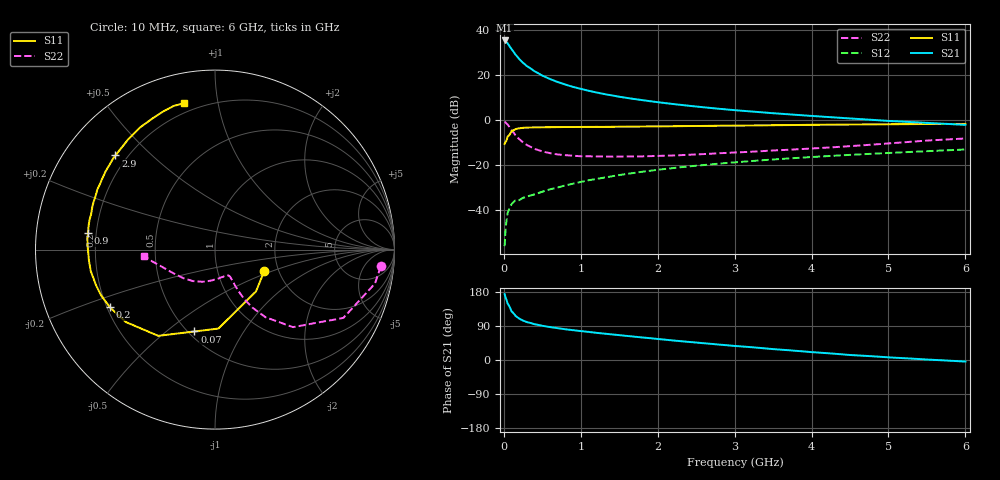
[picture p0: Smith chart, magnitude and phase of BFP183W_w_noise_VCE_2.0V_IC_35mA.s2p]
! Infineon Technologies  Discrete & RF Semiconductors
! BFP183W
! VCE =  2.0 V,  IC =  35 mA
! Common Emitter S-Parameters:  Jan 2017
# GHz  S  MA  R  50
!  f  S11  S21  S12  S22
! GHz  MAG  ANG  MAG  ANG  MAG  ANG  MAG  ANG
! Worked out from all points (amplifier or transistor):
!   77 points, 10 MHz to 6 GHz, reference 50 ohm
!   highest |S21| = 35.6 dB at 10 MHz (marker M1)
!   |S21| within 3 dB of that: start of sweep to 82.96 MHz
!   unconditionally stable (mu >= 1): 620.6 MHz to 3.807 GHz
!   at 130 MHz: K = 0.38, MSG = 33.3 dB, |S12| = -36.2 dB
!   at 2.2 GHz: K = 1.11, MAG = 12.2 dB, |S12| = -21.2 dB
!   at 6 GHz: K = 0.90, MSG = 5.5 dB, |S12| = -12.9 dB
!   lowest NFmin = 1.51 dB at 450 MHz
!   S11 on the Smith chart (normalised r, x): 10 MHz: 1.69, -0.44; 70 MHz: 0.54, -0.63; 200 MHz: 0.21, -0.25; 900 MHz: 0.17, +0.06; 2.9 GHz: 0.16, +0.39; 6 GHz: 0.15, +0.80
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0.01  0.2996 -23.1  59.95 173.9  0.0016 80.1  0.9288 -5.8
0.02  0.3261 -45.5  58.59 166.6  0.0032 77.8  0.911 -12.0
0.05  0.4403 -87.5  51.67 148.8  0.0088 63.0  0.8101 -28.0
0.07  0.4704 -104.1  45.81 142.1  0.0107 57.8  0.7243 -33.6
0.1  0.5751 -123.3  38.63 128.5  0.0137 52.8  0.613 -44.8
0.15  0.64 -140.9  29.36 116.9  0.0167 46.9  0.4715 -53.2
0.2  0.6679 -151.2  23.21 109.2  0.0169 46.5  0.3841 -57.2
0.25  0.6844 -158.3  19.09 103.9  0.019 46.0  0.3242 -59.3
0.3  0.6919 -163.3  16.13 100.1  0.0203 47.1  0.2831 -60.2
0.4  0.7025 -170.2  12.35 94.4  0.0227 50.2  0.2326 -60.8
0.5  0.7049 -175.0  9.932 90.3  0.026 52.5  0.2047 -60.7
0.6  0.7066 -178.7  8.322 86.9  0.0294 55.9  0.187 -60.8
0.7  0.7101 178.2  7.142 84.0  0.0322 58.6  0.1749 -60.9
0.9  0.713 172.7  5.56 78.7  0.0392 60.8  0.1641 -62.3
1.1  0.7174 168.3  4.573 74.2  0.0468 63.0  0.1595 -64.3
1.5  0.7244 160.4  3.362 65.6  0.0609 63.8  0.1566 -71.5
2.1  0.7395 149.3  2.426 53.6  0.0835 62.7  0.1641 -86.7
2.9  0.7633 136.6  1.751 38.9  0.1132 58.9  0.1897 -109.7
3.1  0.768 133.7  1.639 35.6  0.1205 57.6  0.1969 -115.2
4.1  0.8001 120.2  1.227 19.4  0.1569 51.3  0.2429 -140.9
5.1  0.8236 109.7  0.956 5.9  0.1925 44.4  0.317 -163.3
6  0.834 101.8  0.797 -4.1  0.2256 37.8  0.3967 -175.0
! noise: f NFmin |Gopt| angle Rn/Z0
0.45  1.51  0.29  -177  0.1
0.9  1.56  0.32  -176  0.1
1.9  2.05  0.47  -154  0.11
2.4  2.31  0.51  -151  0.16
